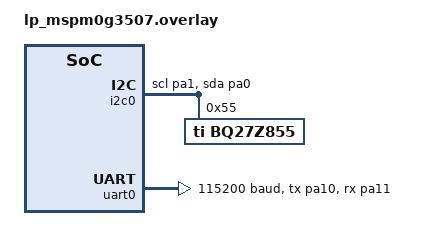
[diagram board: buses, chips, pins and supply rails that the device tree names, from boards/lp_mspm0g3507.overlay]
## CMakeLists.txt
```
# SPDX-License-Identifier: Apache-2.0

cmake_minimum_required(VERSION 3.20.0)
find_package(Zephyr REQUIRED HINTS $ENV{ZEPHYR_BASE})
project(bq27z8xx_shell)

target_sources(app PRIVATE src/test_bq27z8xx_shell.c)
```

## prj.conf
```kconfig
CONFIG_ZTEST=y
CONFIG_LOG=y
CONFIG_FUEL_GAUGE=y
CONFIG_SHELL=y
CONFIG_BQ27Z8XX_SHELL=y
CONFIG_SHELL_BACKEND_DUMMY=y
# Status dumps ~200 lines; 16 KiB captures the full output of every command.
CONFIG_SHELL_BACKEND_DUMMY_BUF_SIZE=16384
```

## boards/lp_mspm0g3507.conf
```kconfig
# SPDX-License-Identifier: Apache-2.0

# The shell test handlers (status, lifetime, ra_table, reg_read) allocate
# large local buffers totalling several hundred bytes of stack per call.
# The default ZTEST_STACK_SIZE of 1024 B is insufficient; 2048 B provides
# enough headroom for the deepest call chains on this 32 KB device.
CONFIG_ZTEST_STACK_SIZE=2048
```

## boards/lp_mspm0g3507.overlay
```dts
/*
 * Copyright (c) 2026 Texas Instruments
 *
 * SPDX-License-Identifier: Apache-2.0
 */

&i2c0_scl_pa1 {
	input-enable;
};

&i2c0_sda_pa0 {
	input-enable;
};

&i2c0 {
	pinctrl-0 = <&i2c0_scl_pa1 &i2c0_sda_pa0>;
	pinctrl-names = "default";
	merge-buf-size = <64>;
	status = "okay";

	bq27z855: bq27z855@55 {
		compatible = "ti,bq27z855";
		reg = <0x55>;
	};
};

&uart0 {
	current-speed = <115200>;
	clocks = <&ckm MSPM0_CLOCK_ULPCLK>;
	pinctrl-0 = <&uart0_tx_pa10 &uart0_rx_pa11>;
	status = "okay";
};
```

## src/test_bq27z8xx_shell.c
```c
/*
 * Copyright (c) 2026, Texas Instruments Incorporated
 *
 * SPDX-License-Identifier: Apache-2.0
 */

/*
 * Shell command tests for the BQ27Z8XX driver, BQ27Z855 variant.
 *
 * All tests run against the native_sim emulator (CONFIG_EMUL_BQ27Z8XX=y) using
 * the shell_dummy backend.  The emulator returns all-zero payloads with correct
 * length and checksum for every supported MAC command.
 *
 * Test categories
 * ---------------
 * 1. Input validation  — bad device name, invalid address, wrong key count.
 * 2. Smoke tests       — every command returns 0 on the emulator.
 * 3. Output content    — key strings / section headers appear in captured output.
 */

#include <errno.h>
#include <string.h>

#include <zephyr/device.h>
#include <zephyr/kernel.h>
#include <zephyr/shell/shell.h>
#include <zephyr/shell/shell_dummy.h>
#include <zephyr/ztest.h>

/* DT node label in the native_sim overlay */
#define SHELL_DEV_NAME "bq27z855@55"

struct bq27z8xx_shell_fixture {
	const struct shell *sh;
};

/* ---------------------------------------------------------------------------
 * Suite setup / before
 * ---------------------------------------------------------------------------
 */

static void *bq27z8xx_shell_setup(void)
{
	static ZTEST_DMEM struct bq27z8xx_shell_fixture fixture;

	fixture.sh = shell_backend_dummy_get_ptr();
	zassert_not_null(fixture.sh, "shell_dummy backend not available");

	/* Yield to the shell thread so it transitions to SHELL_STATE_ACTIVE.
	 * Without this, shell_fprintf returns early (shell.c: state != ACTIVE)
	 * and all shell_print calls are silent no-ops. */
	k_sleep(K_MSEC(100));

	const struct device *dev = device_get_binding(SHELL_DEV_NAME);

	zassert_not_null(dev, "BQ27Z8XX device not found: " SHELL_DEV_NAME);
	zassert_true(device_is_ready(dev), "BQ27Z8XX device not ready");

	return &fixture;
}

static void bq27z8xx_shell_before(void *arg)
{
	const struct bq27z8xx_shell_fixture *f = arg;

	shell_backend_dummy_clear_output(f->sh);
}

/* ---------------------------------------------------------------------------
 * Helper
 * ---------------------------------------------------------------------------
 */

/*
 * Execute @p cmd via the dummy shell backend and return the captured output.
 * The caller receives the command return code in *ret_out.
 * The returned pointer is valid until the next call to run_cmd() or
 * shell_backend_dummy_clear_output().
 */
static const char *run_cmd(const struct bq27z8xx_shell_fixture *f, const char *cmd, int *ret_out)
{
	size_t len;

	shell_backend_dummy_clear_output(f->sh);
	*ret_out = shell_execute_cmd(f->sh, cmd);
	return shell_backend_dummy_get_output(f->sh, &len);
}

/* ---------------------------------------------------------------------------
 * 1. Input validation tests
 * ---------------------------------------------------------------------------
 */

/*
 * An unrecognised device name must return -ENODEV without issuing any I2C
 * traffic.
 */
ZTEST_F(bq27z8xx_shell, test_unknown_device_returns_enodev)
{
	int ret;

	run_cmd(fixture, "bq27z8xx status no_such_device", &ret);
	zassert_equal(ret, -ENODEV, "expected -ENODEV for unknown device, got %d", ret);
}

/*
 * A non-hex address string for the 'read' command must be rejected.
 */
ZTEST_F(bq27z8xx_shell, test_read_invalid_hex_address)
{
	int ret;

	run_cmd(fixture, "bq27z8xx read " SHELL_DEV_NAME " xyz", &ret);
	zassert_true(ret < 0, "expected error for invalid address, got %d", ret);
}

/*
 * 'unseal' requires either zero or two key arguments; supplying exactly one
 * key must return -EINVAL.
 */
ZTEST_F(bq27z8xx_shell, test_unseal_single_key_returns_einval)
{
	int ret;

	run_cmd(fixture, "bq27z8xx unseal " SHELL_DEV_NAME " 0414", &ret);
	zassert_equal(ret, -EINVAL, "expected -EINVAL for single key, got %d", ret);
}

/*
 * 'full_access' has the same two-or-none key rule.
 */
ZTEST_F(bq27z8xx_shell, test_full_access_single_key_returns_einval)
{
	int ret;

	run_cmd(fixture, "bq27z8xx full_access " SHELL_DEV_NAME " ffff", &ret);
	zassert_equal(ret, -EINVAL, "expected -EINVAL for single key, got %d", ret);
}

/* ---------------------------------------------------------------------------
 * 2. Smoke tests — every command completes with return code 0
 * ---------------------------------------------------------------------------
 */

ZTEST_F(bq27z8xx_shell, test_status_completes)
{
	int ret;

	run_cmd(fixture, "bq27z8xx status " SHELL_DEV_NAME, &ret);
	zassert_ok(ret, "bq27z8xx status failed: %d", ret);
}

ZTEST_F(bq27z8xx_shell, test_security_completes)
{
	int ret;

	run_cmd(fixture, "bq27z8xx security " SHELL_DEV_NAME, &ret);
	zassert_ok(ret, "bq27z8xx security failed: %d", ret);
}

ZTEST_F(bq27z8xx_shell, test_lifetime_completes)
{
	int ret;

	run_cmd(fixture, "bq27z8xx lifetime " SHELL_DEV_NAME, &ret);
	zassert_ok(ret, "bq27z8xx lifetime failed: %d", ret);
}

ZTEST_F(bq27z8xx_shell, test_serial_completes)
{
	int ret;

	/*
	 * SerialNumber MAC (0x004E) is not modelled by the emulator; the shell
	 * falls back to ManufacturerInfo (0x0070) which IS modelled.  The
	 * emulator returns zeros → copy_ascii finds no printable bytes → the
	 * shell prints "Serial: <empty>" and returns 0.
	 */
	run_cmd(fixture, "bq27z8xx serial " SHELL_DEV_NAME, &ret);
	zassert_ok(ret, "bq27z8xx serial failed: %d", ret);
}

ZTEST_F(bq27z8xx_shell, test_read_mac_address_completes)
{
	int ret;

	run_cmd(fixture, "bq27z8xx read " SHELL_DEV_NAME " 0001", &ret);
	zassert_ok(ret, "bq27z8xx read (MAC addr) failed: %d", ret);
}

ZTEST_F(bq27z8xx_shell, test_read_df_address_completes)
{
	int ret;

	run_cmd(fixture, "bq27z8xx read " SHELL_DEV_NAME " 4000", &ret);
	zassert_ok(ret, "bq27z8xx read (DF addr) failed: %d", ret);
}

ZTEST_F(bq27z8xx_shell, test_seal_completes)
{
	int ret;

	run_cmd(fixture, "bq27z8xx seal " SHELL_DEV_NAME, &ret);
	zassert_ok(ret, "bq27z8xx seal failed: %d", ret);
}

ZTEST_F(bq27z8xx_shell, test_unseal_default_keys_completes)
{
	int ret;

	run_cmd(fixture, "bq27z8xx unseal " SHELL_DEV_NAME, &ret);
	zassert_ok(ret, "bq27z8xx unseal (default keys) failed: %d", ret);
}

ZTEST_F(bq27z8xx_shell, test_unseal_explicit_keys_completes)
{
	int ret;

	run_cmd(fixture, "bq27z8xx unseal " SHELL_DEV_NAME " 0414 3672", &ret);
	zassert_ok(ret, "bq27z8xx unseal (explicit keys) failed: %d", ret);
}

ZTEST_F(bq27z8xx_shell, test_full_access_default_keys_completes)
{
	int ret;

	run_cmd(fixture, "bq27z8xx full_access " SHELL_DEV_NAME, &ret);
	zassert_ok(ret, "bq27z8xx full_access (default keys) failed: %d", ret);
}

ZTEST_F(bq27z8xx_shell, test_full_access_explicit_keys_completes)
{
	int ret;

	run_cmd(fixture, "bq27z8xx full_access " SHELL_DEV_NAME " ffff ffff", &ret);
	zassert_ok(ret, "bq27z8xx full_access (explicit keys) failed: %d", ret);
}

ZTEST_F(bq27z8xx_shell, test_read_multi_block_completes)
{
	int ret;

	/*
	 * Read 3 consecutive 32-byte DF blocks starting at 0x4000.
	 * Each block steps by MAC_DATA_LEN (0x20), so addresses are
	 * 0x4000, 0x4020, 0x4040 — all within the DF range (0x4000–0x5FFF)
	 * supported by the emulator.
	 */
	run_cmd(fixture, "bq27z8xx read " SHELL_DEV_NAME " 4000 3", &ret);
	zassert_ok(ret, "bq27z8xx read (multi-block) failed: %d", ret);
}

ZTEST_F(bq27z8xx_shell, test_read_zero_blocks_returns_error)
{
	int ret;

	run_cmd(fixture, "bq27z8xx read " SHELL_DEV_NAME " 0060 0", &ret);
	zassert_true(ret < 0, "expected error for zero block count, got %d", ret);
}

/* ---------------------------------------------------------------------------
 * 3. Output content tests
 * ---------------------------------------------------------------------------
 */

/*
 * The status header must identify the connected part as BQ27Z855 so that the
 * operator can confirm which variant is running.
 */
ZTEST_F(bq27z8xx_shell, test_status_output_identifies_z855_variant)
{
	int ret;
	const char *out = run_cmd(fixture, "bq27z8xx status " SHELL_DEV_NAME, &ret);

	zassert_ok(ret, "status failed: %d", ret);
	zassert_not_null(strstr(out, "BQ27Z855"),
			 "output missing BQ27Z855 variant label:\n%s", out);
}

/*
 * Every major status section must appear in the output.  An absent header
 * means the corresponding MAC read silently failed (emulator gap) and the
 * decoder was never called.
 */
ZTEST_F(bq27z8xx_shell, test_status_output_has_required_section_headers)
{
	int ret;
	const char *out = run_cmd(fixture, "bq27z8xx status " SHELL_DEV_NAME, &ret);

	zassert_ok(ret, "status failed: %d", ret);
	zassert_not_null(strstr(out, "BatteryStatus:"),       "missing BatteryStatus");
	zassert_not_null(strstr(out, "SafetyAlert:"),         "missing SafetyAlert");
	zassert_not_null(strstr(out, "SafetyStatus:"),        "missing SafetyStatus");
	zassert_not_null(strstr(out, "OperationStatus:"),     "missing OperationStatus");
	zassert_not_null(strstr(out, "ChargingStatus:"),      "missing ChargingStatus");
	zassert_not_null(strstr(out, "GaugingStatus:"),       "missing GaugingStatus");
	zassert_not_null(strstr(out, "ManufacturingStatus:"), "missing ManufacturingStatus");
	zassert_not_null(strstr(out, "DAStatus1:"),           "missing DAStatus1");
	zassert_not_null(strstr(out, "DAStatus2:"),           "missing DAStatus2");
}

/*
 * The BQ27Z855 uses "GaugeStatus" labels for MAC 0x0073–0x0075; the BQ27Z758
 * uses "ITStatus" for the same addresses.  Confirm the right label appears
 * and the wrong one does not.
 */
ZTEST_F(bq27z8xx_shell, test_status_output_uses_z855_gaugestatus_labels)
{
	int ret;
	const char *out = run_cmd(fixture, "bq27z8xx status " SHELL_DEV_NAME, &ret);

	zassert_ok(ret, "status failed: %d", ret);
	zassert_not_null(strstr(out, "GaugeStatus1:"), "missing GaugeStatus1");
	zassert_not_null(strstr(out, "GaugeStatus2:"), "missing GaugeStatus2");
	zassert_not_null(strstr(out, "GaugeStatus3:"), "missing GaugeStatus3");
	/* Z855 must not fall back to the Z758 ITStatus label */
	zassert_is_null(strstr(out, "ITStatus1:"),
			"unexpected ITStatus1 label (wrong variant path)");
}

/*
 * The security command must report the current mode.  Verify the "Security:"
 * field and that one of the four known mode labels is present.  On the
 * emulator, OperationStatus is all-zero so SEC[9:8] = 0b00 = "Reserved".  On
 * hardware the device may be Sealed, Unsealed, or Full Access depending on
 * prior test execution, so any valid label is acceptable.
 */
ZTEST_F(bq27z8xx_shell, test_security_output_has_mode_field)
{
	int ret;
	const char *out = run_cmd(fixture, "bq27z8xx security " SHELL_DEV_NAME, &ret);

	zassert_ok(ret, "security failed: %d", ret);
	zassert_not_null(strstr(out, "Security:"), "missing Security field");
	zassert_true(strstr(out, "Reserved") || strstr(out, "Full Access") ||
			     strstr(out, "Unsealed") || strstr(out, "Sealed"),
		     "expected a security mode label in output:\n%s", out);
}

/*
 * The lifetime dump must include representative field names from different
 * lifetime blocks so that we know the block table is being iterated.
 */
ZTEST_F(bq27z8xx_shell, test_lifetime_output_has_known_field_names)
{
	int ret;
	const char *out = run_cmd(fixture, "bq27z8xx lifetime " SHELL_DEV_NAME, &ret);

	zassert_ok(ret, "lifetime failed: %d", ret);
	/* Block 0 field — present on both variants */
	zassert_not_null(strstr(out, "Cell 1 Max Voltage"),
			 "missing 'Cell 1 Max Voltage' (block 0)");
	/*
	 * Block 2/3 field — label differs by variant:
	 *   Z855: "Total FW Runtime" (block 3 = index 2)
	 *   Z758: "Total Fw Runtime" (block 3 = index 2)
	 * Both share the common prefix "Total F"; check that.
	 */
	zassert_not_null(strstr(out, "Total F"),
			 "missing 'Total F...' runtime field (block 2/3)");
	/*
	 * RSOC histogram field — label differs by variant:
	 *   Z855: "Time In LFT_UT RSOC A" (block 6)
	 *   Z758: "Time In UT RSOC A"     (block 6)
	 * Both share the common suffix "RSOC A"; check that.
	 */
	zassert_not_null(strstr(out, "RSOC A"),
			 "missing 'RSOC A' histogram field (block 5/6)");
}

/*
 * The serial command must print a line starting with "Serial" regardless of
 * whether the device has a programmed serial number.  The exact format varies:
 *   "Serial: <empty>"                  — empty ManufacturerInfo
 *   "Serial (ManufacturerInfo): <str>" — non-empty ManufacturerInfo
 *   "Serial (MAC 0x004E): <str>"       — BQ27Z758 serial number field
 * All forms share the "Serial" prefix; check that rather than "Serial:".
 */
ZTEST_F(bq27z8xx_shell, test_serial_output_has_serial_label)
{
	int ret;
	const char *out = run_cmd(fixture, "bq27z8xx serial " SHELL_DEV_NAME, &ret);

	zassert_ok(ret, "serial failed: %d", ret);
	zassert_not_null(strstr(out, "Serial"), "missing Serial label");
}

/*
 * The 'read' command labels MAC-range addresses as "MAC" and data-flash-range
 * addresses as "DF" in the hexdump header.
 */
ZTEST_F(bq27z8xx_shell, test_read_uses_mac_label_for_mac_range)
{
	int ret;
	const char *out = run_cmd(fixture, "bq27z8xx read " SHELL_DEV_NAME " 0001", &ret);

	zassert_ok(ret, "read (MAC) failed: %d", ret);
	zassert_not_null(strstr(out, "MAC 0x0001 (len="),
			 "missing 'MAC 0x0001 (len=' header");
}

ZTEST_F(bq27z8xx_shell, test_read_uses_df_label_for_df_range)
{
	int ret;
	const char *out = run_cmd(fixture, "bq27z8xx read " SHELL_DEV_NAME " 4000", &ret);

	zassert_ok(ret, "read (DF) failed: %d", ret);
	zassert_not_null(strstr(out, "DF 0x4000 (len="),
			 "missing 'DF 0x4000 (len=' header");
}

ZTEST_F(bq27z8xx_shell, test_ra_table_completes)
{
	int ret;

	run_cmd(fixture, "bq27z8xx ra_table " SHELL_DEV_NAME, &ret);
	zassert_ok(ret, "bq27z8xx ra_table failed: %d", ret);
}

ZTEST_F(bq27z8xx_shell, test_ra_table_tsv_completes)
{
	int ret;

	run_cmd(fixture, "bq27z8xx ra_table " SHELL_DEV_NAME " tsv", &ret);
	zassert_ok(ret, "bq27z8xx ra_table tsv failed: %d", ret);
}

/*
 * The ra_table output must contain the top-level header and both block
 * prefixes, confirming that both Cell0 and xCell0 DF blocks were read.
 */
ZTEST_F(bq27z8xx_shell, test_ra_table_output_has_header_and_both_blocks)
{
	int ret;
	const char *out = run_cmd(fixture, "bq27z8xx ra_table " SHELL_DEV_NAME, &ret);

	zassert_ok(ret, "ra_table failed: %d", ret);
	zassert_not_null(strstr(out, "Ra Table (Data Flash)"), "missing header");
	zassert_not_null(strstr(out, "Cell0"),  "missing Cell0 block");
	zassert_not_null(strstr(out, "xCell0"), "missing xCell0 block");
}

/*
 * Every block must contain the flag field and at least the first resistance
 * value, and the output must include the mOhm unit label produced by the
 * raw→milliohm conversion.
 */
ZTEST_F(bq27z8xx_shell, test_ra_table_output_has_flag_and_resistance_values)
{
	int ret;
	const char *out = run_cmd(fixture, "bq27z8xx ra_table " SHELL_DEV_NAME, &ret);

	zassert_ok(ret, "ra_table failed: %d", ret);
	zassert_not_null(strstr(out, "R_a flag"), "missing R_a flag field");
	zassert_not_null(strstr(out, "R_a 0"),    "missing R_a 0 field");
	zassert_not_null(strstr(out, "mOhm"),     "missing mOhm unit label");
}

/*
 * In TSV mode the first data line must be the column header "Label\tRaw\tmOhm"
 * and subsequent data lines must use tab separators rather than the normal
 * colon/space formatting.
 */
ZTEST_F(bq27z8xx_shell, test_ra_table_tsv_output_format)
{
	int ret;
	const char *out = run_cmd(fixture, "bq27z8xx ra_table " SHELL_DEV_NAME " tsv", &ret);

	zassert_ok(ret, "ra_table tsv failed: %d", ret);
	zassert_not_null(strstr(out, "Label\tRaw\tmOhm"), "missing TSV column header");
	/* Data lines use tabs: "Cell0 R_a 0\t<raw>\t<mohm>" */
	zassert_not_null(strstr(out, "Cell0 R_a 0\t"), "missing tab-separated Cell0 R_a 0");
	zassert_not_null(strstr(out, "xCell0 R_a 0\t"), "missing tab-separated xCell0 R_a 0");
}

/* ---------------------------------------------------------------------------
 * reg_read — input validation
 * ---------------------------------------------------------------------------
 */

/*
 * "zz" is not a valid hex byte; shell_strtoul must set err and the handler
 * must return -EINVAL before issuing any I2C traffic.
 */
ZTEST_F(bq27z8xx_shell, test_reg_read_invalid_register_returns_einval)
{
	int ret;

	run_cmd(fixture, "bq27z8xx reg_read " SHELL_DEV_NAME " zz", &ret);
	zassert_equal(ret, -EINVAL, "expected -EINVAL for non-hex register, got %d", ret);
}

/*
 * A byte count of zero is outside the valid range of 1–32 and must be
 * rejected before issuing any I2C traffic.
 */
ZTEST_F(bq27z8xx_shell, test_reg_read_invalid_bytecount_returns_einval)
{
	int ret;

	run_cmd(fixture, "bq27z8xx reg_read " SHELL_DEV_NAME " 08 0", &ret);
	zassert_equal(ret, -EINVAL, "expected -EINVAL for zero byte count, got %d", ret);
}

/* ---------------------------------------------------------------------------
 * reg_read — smoke and output
 * ---------------------------------------------------------------------------
 */

ZTEST_F(bq27z8xx_shell, test_reg_read_completes)
{
	int ret;

	/* Register 0x08 = VOLTAGE; emulator returns a predictable value. */
	run_cmd(fixture, "bq27z8xx reg_read " SHELL_DEV_NAME " 08", &ret);
	zassert_ok(ret, "bq27z8xx reg_read failed: %d", ret);
}

/*
 * The output must contain the "REG 0x<reg>:" prefix produced by the
 * handler's shell_print call.
 */
ZTEST_F(bq27z8xx_shell, test_reg_read_output_format)
{
	int ret;
	const char *out = run_cmd(fixture, "bq27z8xx reg_read " SHELL_DEV_NAME " 08", &ret);

	zassert_ok(ret, "reg_read failed: %d", ret);
	zassert_not_null(strstr(out, "REG 0x08:"),
			 "output missing 'REG 0x08:' prefix:\n%s", out);
}

/* ---------------------------------------------------------------------------
 * reg_write — input validation
 * ---------------------------------------------------------------------------
 */

ZTEST_F(bq27z8xx_shell, test_reg_write_invalid_register_returns_einval)
{
	int ret;

	run_cmd(fixture, "bq27z8xx reg_write " SHELL_DEV_NAME " zz 01", &ret);
	zassert_equal(ret, -EINVAL, "expected -EINVAL for non-hex register, got %d", ret);
}

/*
 * "gg" is not a valid hex byte; parse_hex_bytes() must reject it with
 * -EINVAL before any I2C write is issued.
 */
ZTEST_F(bq27z8xx_shell, test_reg_write_invalid_data_byte_returns_einval)
{
	int ret;

	run_cmd(fixture, "bq27z8xx reg_write " SHELL_DEV_NAME " 3e gg", &ret);
	zassert_equal(ret, -EINVAL, "expected -EINVAL for non-hex data byte, got %d", ret);
}

/* ---------------------------------------------------------------------------
 * reg_write — smoke and output
 * ---------------------------------------------------------------------------
 */

ZTEST_F(bq27z8xx_shell, test_reg_write_completes)
{
	int ret;

	/* Write 0x54 0x00 to register 0x3E (ALTMANUFACTURERACCESS). */
	run_cmd(fixture, "bq27z8xx reg_write " SHELL_DEV_NAME " 3e 54 00", &ret);
	zassert_ok(ret, "bq27z8xx reg_write failed: %d", ret);
}

ZTEST_F(bq27z8xx_shell, test_reg_write_output_format)
{
	int ret;
	const char *out =
		run_cmd(fixture, "bq27z8xx reg_write " SHELL_DEV_NAME " 3e 54 00", &ret);

	zassert_ok(ret, "reg_write failed: %d", ret);
	zassert_not_null(strstr(out, "Wrote 2 byte(s) to REG 0x3e."),
			 "output missing write confirmation:\n%s", out);
}

/* ---------------------------------------------------------------------------
 * mac_write — input validation
 * ---------------------------------------------------------------------------
 */

/*
 * "zzzz" is not valid hex; shell_strtoul must set err and the handler must
 * return -EINVAL before calling bq27z8xx_write_mac().
 */
ZTEST_F(bq27z8xx_shell, test_mac_write_invalid_command_returns_einval)
{
	int ret;

	run_cmd(fixture, "bq27z8xx mac_write " SHELL_DEV_NAME " zzzz", &ret);
	zassert_equal(ret, -EINVAL, "expected -EINVAL for non-hex command, got %d", ret);
}

/* ---------------------------------------------------------------------------
 * mac_write — smoke and output
 * ---------------------------------------------------------------------------
 */

ZTEST_F(bq27z8xx_shell, test_mac_write_no_data_completes)
{
	/*
	 * bq27z8xx_write_mac() with data_len=0 writes to MACDATASUM (0x60)
	 * without a prior MACDATA (0x40) write.  The real device NACKs this
	 * because the block-commit registers are only writable when a data
	 * transfer to 0x40 has preceded them.  The emulator accepts all writes
	 * unconditionally, so this path is only testable there.
	 */
	if (!IS_ENABLED(CONFIG_EMUL)) {
		ztest_test_skip();
	}

	int ret;

	/* 0x0021 = GAUGING control command — zero-payload MAC write. */
	run_cmd(fixture, "bq27z8xx mac_write " SHELL_DEV_NAME " 0021", &ret);
	zassert_ok(ret, "bq27z8xx mac_write (no data) failed: %d", ret);
}

ZTEST_F(bq27z8xx_shell, test_mac_write_with_data_completes)
{
	int ret;

	run_cmd(fixture, "bq27z8xx mac_write " SHELL_DEV_NAME " 0044 01 02 03", &ret);
	zassert_ok(ret, "bq27z8xx mac_write (with data) failed: %d", ret);
}

ZTEST_F(bq27z8xx_shell, test_mac_write_output_format_no_data)
{
	/* Same hardware limitation as test_mac_write_no_data_completes. */
	if (!IS_ENABLED(CONFIG_EMUL)) {
		ztest_test_skip();
	}

	int ret;
	const char *out =
		run_cmd(fixture, "bq27z8xx mac_write " SHELL_DEV_NAME " 0021", &ret);

	zassert_ok(ret, "mac_write failed: %d", ret);
	zassert_not_null(strstr(out, "MAC write 0x0021 sent (0 data byte(s))."),
			 "output missing zero-payload confirmation:\n%s", out);
}

ZTEST_F(bq27z8xx_shell, test_mac_write_output_format_with_data)
{
	int ret;
	const char *out =
		run_cmd(fixture, "bq27z8xx mac_write " SHELL_DEV_NAME " 0044 01 02 03", &ret);

	zassert_ok(ret, "mac_write failed: %d", ret);
	zassert_not_null(strstr(out, "MAC write 0x0044 sent (3 data byte(s))."),
			 "output missing payload confirmation:\n%s", out);
}

ZTEST_SUITE(bq27z8xx_shell, NULL, bq27z8xx_shell_setup, bq27z8xx_shell_before, NULL, NULL);
```
